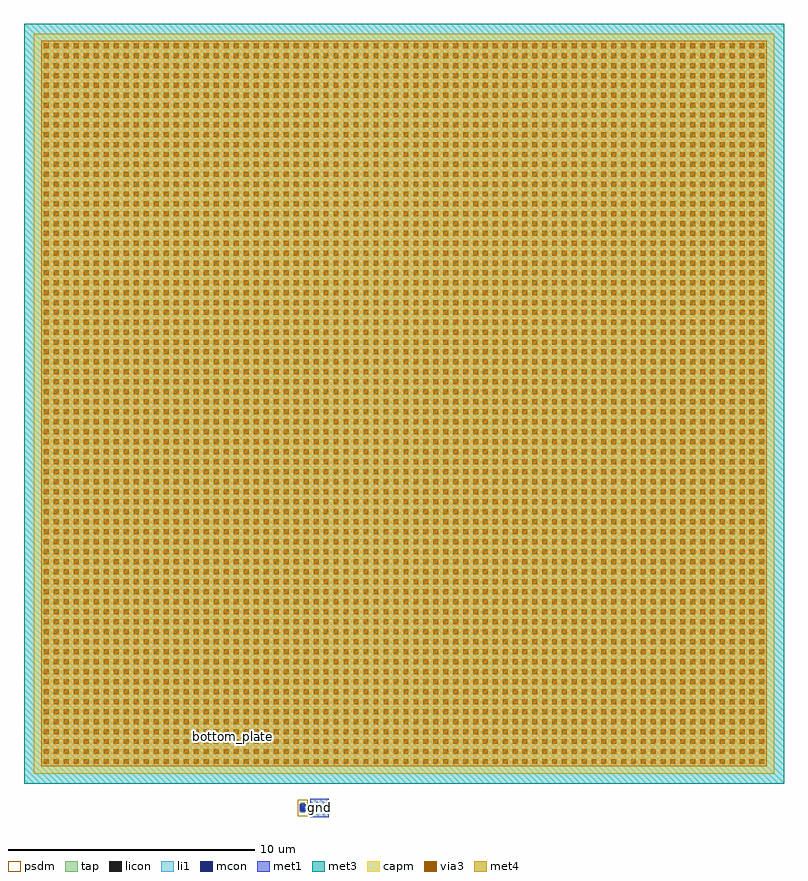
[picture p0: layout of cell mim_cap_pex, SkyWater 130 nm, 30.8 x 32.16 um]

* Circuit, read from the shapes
.subckt mim_cap_pex bottom_plate gnd top_plate
XC1 top_plate bottom_plate sky130_fd_pr__cap_mim_m3_1 w=30 l=30
.ends

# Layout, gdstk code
import gdstk
lib = gdstk.Library(unit=1e-6, precision=1e-09)
def R(c, l, rs):  # rectangles x0, y0, x1, y1
    for r in rs: c.add(gdstk.rectangle(r[:2], r[2:], *l))
def A(c, l, x, y, w, h, nx, ny, dx, dy):  # array of equal rectangles
    R(c, l, [(x+i*dx, y+j*dy, x+i*dx+w, y+j*dy+h) for i in range(nx) for j in range(ny)])
tap = (65, 44)
licon = (66, 44)
li1 = (67, 20)
mcon = (67, 44)
met1 = (68, 20)
met3 = (70, 20)
via3 = (70, 44)
met4 = (71, 20)
capm = (89, 44)
psdm = (94, 20)

cap_mim_m3__base__2 = lib.new_cell('cap_mim_m3__base$$2')
R(cap_mim_m3__base__2, met3, [(-0.4,-0.4,30.4,30.4)])
A(cap_mim_m3__base__2, via3, 0.4, 0.4, 0.2, 0.2, 41, 41, 0.405, 0.405)
A(cap_mim_m3__base__2, via3, 17, 0.4, 0.2, 0.2, 32, 41, 0.4, 0.405)
A(cap_mim_m3__base__2, via3, 0.4, 17, 0.2, 0.2, 41, 32, 0.405, 0.4)
A(cap_mim_m3__base__2, via3, 17, 17, 0.2, 0.2, 32, 32, 0.4, 0.4)
R(cap_mim_m3__base__2, met4, [(0.3,0.3,29.7,29.7)])
R(cap_mim_m3__base__2, capm, [(0,0,30,30)])
cap_mim_m3__base__2.add(gdstk.Label('MINUS', (15,15), layer=70, texttype=20))
cap_mim_m3__base__2.add(gdstk.Label('PLUS', (15,15), layer=71, texttype=20))

subtap__1 = lib.new_cell('subTap$$1')
R(subtap__1, tap, [(-0.085,-0.205,0.085,0.205)])
R(subtap__1, licon, [(-0.085,-0.085,0.085,0.085)])
R(subtap__1, li1, [(-0.085,-0.165,0.085,0.165)])
R(subtap__1, mcon, [(-0.085,-0.085,0.085,0.085)])
R(subtap__1, met1, [(-0.115,-0.145,0.115,0.145)])
R(subtap__1, psdm, [(-0.21,-0.33,0.21,0.33)])

mim_cap_pex = lib.new_cell('mim_cap_pex')
R(mim_cap_pex, met1, [(5.55,-0.88,6.295,-0.12)])
R(mim_cap_pex, met3, [(2.09,2.09,2.72,2.72)])
R(mim_cap_pex, met4, [(2.155,2.135,2.645,2.665)])
mim_cap_pex.add(gdstk.FlexPath([(5.245,-0.5),(5.55,-0.5)], 0.14, ends="flush", simple_path=True, layer=68, datatype=20))  # met1
mim_cap_pex.add(gdstk.Reference(cap_mim_m3__base__2, (-5.65,0.88)))
mim_cap_pex.add(gdstk.Reference(subtap__1, (5.245,-0.5)))
mim_cap_pex.add(gdstk.Label('bottom_plate', (2.405,2.405), layer=70, texttype=20))
mim_cap_pex.add(gdstk.Label('top_plate', (2.4,2.4), layer=71, texttype=20))
mim_cap_pex.add(gdstk.Label('top_plate', (2.39,2.41), layer=71, texttype=5))
mim_cap_pex.add(gdstk.Label('gnd', (5.922,-0.5), layer=68, texttype=20))
mim_cap_pex.add(gdstk.Label('gnd', (5.95,-0.465), layer=68, texttype=5))
mim_cap_pex.add(gdstk.Label('bottom_plate', (2.42,2.305), layer=70, texttype=5))

lib.write_gds('mim_cap_pex.gds')
